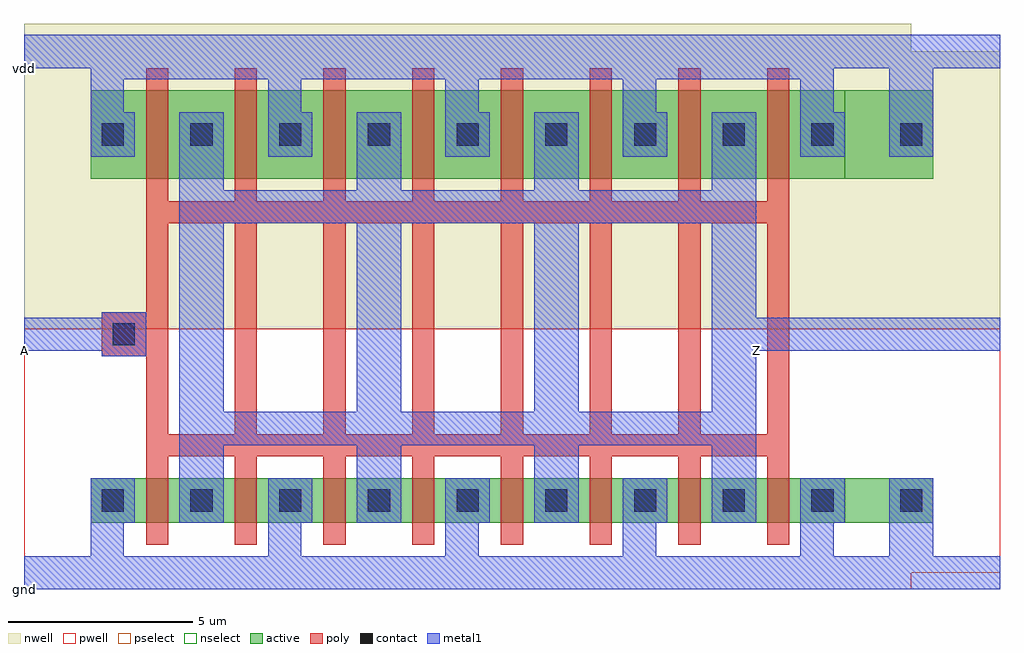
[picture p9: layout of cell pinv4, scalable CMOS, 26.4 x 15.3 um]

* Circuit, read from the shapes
.subckt pinv4 A Z gnd vdd
M1 Z A gnd gnd nfet w=1.2u l=0.6u m=8
M2 Z A vdd vdd pfet w=2.4u l=0.6u m=8
.ends

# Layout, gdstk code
from math import pi, radians
import gdstk
lib = gdstk.Library(unit=1e-6, precision=1e-09)
def R(c, l, rs):  # rectangles x0, y0, x1, y1
    for r in rs: c.add(gdstk.rectangle(r[:2], r[2:], *l))
def A(c, l, x, y, w, h, nx, ny, dx, dy):  # array of equal rectangles
    R(c, l, [(x+i*dx, y+j*dy, x+i*dx+w, y+j*dy+h) for i in range(nx) for j in range(ny)])
contact = (25, 0)
pwell = (41, 0)
nwell = (42, 0)
active = (43, 0)
pselect = (44, 0)
nselect = (45, 0)
poly = (46, 0)
metal1 = (49, 0)

active_contact_metal1_1x = lib.new_cell('active_contact_metal1_1x1')
R(active_contact_metal1_1x, contact, [(0.3,0.3,0.9,0.9)])
R(active_contact_metal1_1x, active, [(0,0,1.2,1.2)])
R(active_contact_metal1_1x, metal1, [(0,0,1.2,1.2)])

nmos_m8_w1_2_a_p = lib.new_cell('nmos_m8_w1_2_a_p')
R(nmos_m8_w1_2_a_p, pwell, [(0,0,24,4.8)])
R(nmos_m8_w1_2_a_p, active, [(1.8,1.8,22.2,3)])
R(nmos_m8_w1_2_a_p, nselect, [(1.8,1.8,22.2,3)])
A(nmos_m8_w1_2_a_p, poly, 3.3, 1.2, 0.6, 2.4, 8, 1, 2.4, 0)
R(nmos_m8_w1_2_a_p, poly, [(3.3,0.6,20.7,1.2)])
A(nmos_m8_w1_2_a_p, metal1, 4.65, 0, 4.8, 0.9, 3, 1, 4.8, 0)
A(nmos_m8_w1_2_a_p, metal1, 4.2, 0.45, 0.9, 0.45, 3, 1, 4.8, 0)
A(nmos_m8_w1_2_a_p, metal1, 9, 0.45, 0.9, 1.35, 3, 1, 4.8, 0)
A(nmos_m8_w1_2_a_p, metal1, 4.2, 0.9, 0.9, 0.9, 3, 1, 4.8, 0)
A(nmos_m8_w1_2_a_p, metal1, 1.8, 1.8, 1.2, 1.2, 9, 1, 2.4, 0)
A(nmos_m8_w1_2_a_p, metal1, 1.8, 1.8, 0.9, 2.1, 4, 1, 4.8, 0)
A(nmos_m8_w1_2_a_p, metal1, 6.6, 1.8, 0.9, 2.55, 4, 1, 4.8, 0)
A(nmos_m8_w1_2_a_p, metal1, 1.8, 3.9, 0.9, 0.45, 4, 1, 4.8, 0)
A(nmos_m8_w1_2_a_p, metal1, 2.25, 3.9, 4.8, 0.9, 4, 1, 4.8, 0)
R(nmos_m8_w1_2_a_p, metal1, [(4.2,0,5.1,0.9), (4.2,0,19.5,0.9), (9,0,9.9,0.9), (9,0,9.9,0.9), (13.8,0,14.7,0.9), (13.8,0,14.7,0.9), (18.6,0,19.5,0.9), (1.8,3.9,2.7,4.8), (1.8,3.9,21.9,4.8), (6.6,3.9,7.5,4.8), (6.6,3.9,7.5,4.8), (11.4,3.9,12.3,4.8), (11.4,3.9,12.3,4.8), (16.2,3.9,17.1,4.8), (16.2,3.9,17.1,4.8), (21,3.9,21.9,4.8)])
nmos_m8_w1_2_a_p.add(gdstk.Reference(active_contact_metal1_1x, (1.8,1.8)))
nmos_m8_w1_2_a_p.add(gdstk.Reference(active_contact_metal1_1x, (4.2,1.8)))
nmos_m8_w1_2_a_p.add(gdstk.Reference(active_contact_metal1_1x, (6.6,1.8)))
nmos_m8_w1_2_a_p.add(gdstk.Reference(active_contact_metal1_1x, (9,1.8)))
nmos_m8_w1_2_a_p.add(gdstk.Reference(active_contact_metal1_1x, (11.4,1.8)))
nmos_m8_w1_2_a_p.add(gdstk.Reference(active_contact_metal1_1x, (13.8,1.8)))
nmos_m8_w1_2_a_p.add(gdstk.Reference(active_contact_metal1_1x, (16.2,1.8)))
nmos_m8_w1_2_a_p.add(gdstk.Reference(active_contact_metal1_1x, (18.6,1.8)))
nmos_m8_w1_2_a_p.add(gdstk.Reference(active_contact_metal1_1x, (21,1.8)))
nmos_m8_w1_2_a_p.add(gdstk.Label('S', (1.8,3.9), layer=49, texttype=0))
nmos_m8_w1_2_a_p.add(gdstk.Label('D', (4.2,0), layer=49, texttype=0))
nmos_m8_w1_2_a_p.add(gdstk.Label('G', (3.3,0.6), layer=46, texttype=0))

pmos_m8_w2_4_a_p = lib.new_cell('pmos_m8_w2_4_a_p')
R(pmos_m8_w2_4_a_p, nwell, [(0,0,24,6)])
R(pmos_m8_w2_4_a_p, active, [(1.8,1.8,22.2,4.2)])
R(pmos_m8_w2_4_a_p, pselect, [(1.8,1.8,22.2,4.2)])
A(pmos_m8_w2_4_a_p, poly, 3.3, 1.2, 0.6, 3.6, 8, 1, 2.4, 0)
R(pmos_m8_w2_4_a_p, poly, [(3.3,0.6,20.7,1.2)])
A(pmos_m8_w2_4_a_p, metal1, 4.65, 0.6, 4.8, 0.9, 3, 1, 4.8, 0)
A(pmos_m8_w2_4_a_p, metal1, 4.2, 1.05, 0.9, 0.45, 3, 1, 4.8, 0)
A(pmos_m8_w2_4_a_p, metal1, 9, 1.05, 0.9, 1.35, 3, 1, 4.8, 0)
A(pmos_m8_w2_4_a_p, metal1, 4.2, 1.5, 0.9, 0.9, 3, 1, 4.8, 0)
A(pmos_m8_w2_4_a_p, metal1, 1.8, 2.4, 1.2, 1.2, 9, 1, 2.4, 0)
A(pmos_m8_w2_4_a_p, metal1, 1.8, 2.4, 0.9, 2.1, 4, 1, 4.8, 0)
A(pmos_m8_w2_4_a_p, metal1, 6.6, 2.4, 0.9, 2.55, 4, 1, 4.8, 0)
A(pmos_m8_w2_4_a_p, metal1, 1.8, 4.5, 0.9, 0.45, 4, 1, 4.8, 0)
A(pmos_m8_w2_4_a_p, metal1, 2.25, 4.5, 4.8, 0.9, 4, 1, 4.8, 0)
R(pmos_m8_w2_4_a_p, metal1, [(4.2,0.6,5.1,1.5), (4.2,0.6,19.5,1.5), (9,0.6,9.9,1.5), (9,0.6,9.9,1.5), (13.8,0.6,14.7,1.5), (13.8,0.6,14.7,1.5), (18.6,0.6,19.5,1.5), (1.8,4.5,2.7,5.4), (1.8,4.5,21.9,5.4), (6.6,4.5,7.5,5.4), (6.6,4.5,7.5,5.4), (11.4,4.5,12.3,5.4), (11.4,4.5,12.3,5.4), (16.2,4.5,17.1,5.4), (16.2,4.5,17.1,5.4), (21,4.5,21.9,5.4)])
pmos_m8_w2_4_a_p.add(gdstk.Reference(active_contact_metal1_1x, (1.8,2.4)))
pmos_m8_w2_4_a_p.add(gdstk.Reference(active_contact_metal1_1x, (4.2,2.4)))
pmos_m8_w2_4_a_p.add(gdstk.Reference(active_contact_metal1_1x, (6.6,2.4)))
pmos_m8_w2_4_a_p.add(gdstk.Reference(active_contact_metal1_1x, (9,2.4)))
pmos_m8_w2_4_a_p.add(gdstk.Reference(active_contact_metal1_1x, (11.4,2.4)))
pmos_m8_w2_4_a_p.add(gdstk.Reference(active_contact_metal1_1x, (13.8,2.4)))
pmos_m8_w2_4_a_p.add(gdstk.Reference(active_contact_metal1_1x, (16.2,2.4)))
pmos_m8_w2_4_a_p.add(gdstk.Reference(active_contact_metal1_1x, (18.6,2.4)))
pmos_m8_w2_4_a_p.add(gdstk.Reference(active_contact_metal1_1x, (21,2.4)))
pmos_m8_w2_4_a_p.add(gdstk.Label('S', (1.8,4.5), layer=49, texttype=0))
pmos_m8_w2_4_a_p.add(gdstk.Label('D', (4.2,0.6), layer=49, texttype=0))
pmos_m8_w2_4_a_p.add(gdstk.Label('G', (3.3,0.6), layer=46, texttype=0))

poly_contact_metal1_1x1 = lib.new_cell('poly_contact_metal1_1x1')
R(poly_contact_metal1_1x1, contact, [(0.3,0.3,0.9,0.9)])
R(poly_contact_metal1_1x1, poly, [(0,0,1.2,1.2)])
R(poly_contact_metal1_1x1, metal1, [(0,0,1.2,1.2)])

pinv4 = lib.new_cell('pinv4')
R(pinv4, pwell, [(0,0,26.4,6.6)])
R(pinv4, nwell, [(0,6.6,26.4,14.1)])
R(pinv4, active, [(1.8,1.35,24.6,2.55), (1.8,10.65,24.6,13.05)])
R(pinv4, pselect, [(22.2,1.35,24.6,2.55)])
R(pinv4, nselect, [(22.2,10.65,24.6,13.05)])
A(pinv4, poly, 3.3, 3.15, 0.6, 6.9, 8, 1, 2.4, 0)
R(pinv4, poly, [(3.3,5.85,3.9,7.05)])
A(pinv4, metal1, 4.2, 2.55, 1.2, 8.85, 4, 1, 4.8, 0)
R(pinv4, metal1, [(0,-0.45,26.4,0.45), (23.4,0.45,24.6,2.25), (0,6,2.1,6.9), (19.8,6,26.4,6.9), (23.4,11.25,24.6,13.65), (0,13.65,26.4,14.55)])
pinv4.add(gdstk.Reference(nmos_m8_w1_2_a_p, (0,4.35), x_reflection=True))
pinv4.add(gdstk.Reference(pmos_m8_w2_4_a_p, (0,8.85)))
pinv4.add(gdstk.Reference(active_contact_metal1_1x, (23.4,11.25)))
pinv4.add(gdstk.Reference(active_contact_metal1_1x, (23.4,1.35)))
pinv4.add(gdstk.Reference(poly_contact_metal1_1x1, (3.3,5.85), rotation=pi/2))
pinv4.add(gdstk.Label('A', (0,6), layer=49, texttype=0))
pinv4.add(gdstk.Label('Z', (19.8,6), layer=49, texttype=0))
pinv4.add(gdstk.Label('vdd', (0,13.65), layer=49, texttype=0))
pinv4.add(gdstk.Label('gnd', (0,-0.45), layer=49, texttype=0))

lib.write_gds('pinv4.gds')
